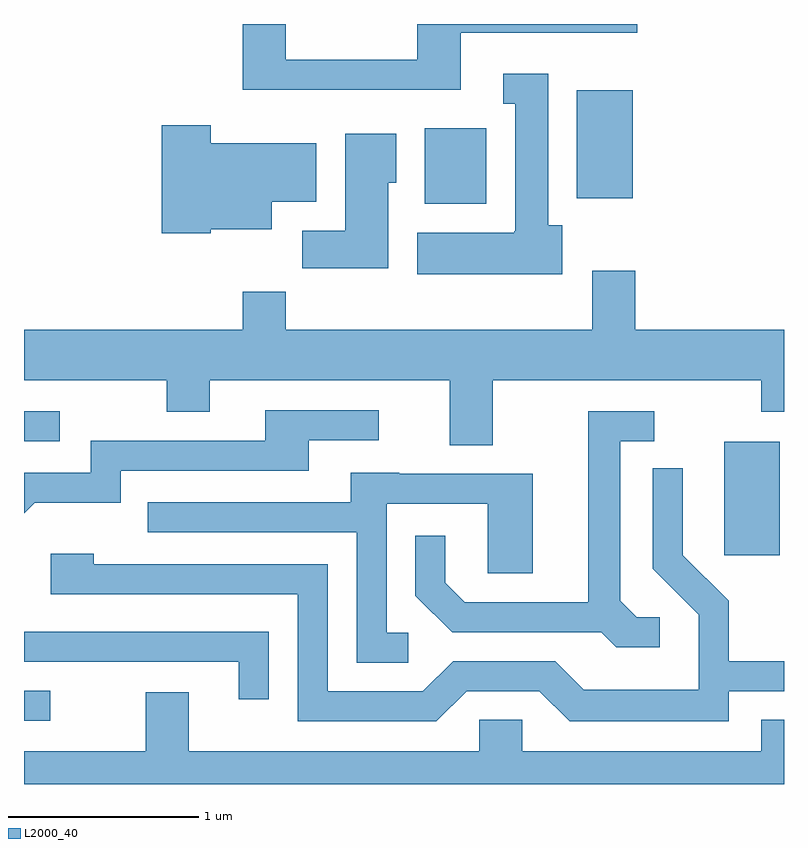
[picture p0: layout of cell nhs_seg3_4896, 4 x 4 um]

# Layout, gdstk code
import gdstk
lib = gdstk.Library(unit=1e-6, precision=1e-09)
def R(c, l, rs):  # rectangles x0, y0, x1, y1
    for r in rs: c.add(gdstk.rectangle(r[:2], r[2:], *l))
def P(c, l, *ps):  # polygons
    for p in ps: c.add(gdstk.Polygon(p, *l))
L2000_40 = (2000, 40)

nhs_seg3_4896 = lib.new_cell('nhs_seg3_4896')
R(nhs_seg3_4896, L2000_40, [(329.611,1124.226,329.748,1124.384), (333.296,1125.096,333.589,1125.694), (329.611,1125.696,329.798,1125.854), (331.721,1126.946,332.044,1127.344), (332.521,1126.976,332.814,1127.544)])
P(nhs_seg3_4896, L2000_40, [(331.909,1127.846),(332.838,1127.846),(332.838,1127.892),(331.681,1127.892),(331.681,1127.704),(330.989,1127.704),(330.989,1127.892),(330.761,1127.892),(330.761,1127.546),(331.909,1127.546)],
  [(332.444,1126.834),(332.369,1126.834),(332.369,1127.629),(332.133,1127.629),(332.133,1127.471),(332.196,1127.471),(332.196,1126.8),(332.19,1126.8),(332.19,1126.794),(331.681,1126.794),(331.681,1126.576),(332.444,1126.576)],
  [(330.594,1126.811),(330.914,1126.811),(330.914,1126.956),(331.149,1126.956),(331.149,1127.264),(330.594,1127.264),(330.594,1127.359),(330.336,1127.359),(330.336,1126.791),(330.594,1126.791)],
  [(331.529,1127.056),(331.569,1127.056),(331.569,1127.314),(331.301,1127.314),(331.301,1126.804),(331.076,1126.804),(331.076,1126.606),(331.529,1126.606)],
  [(332.079,1126.016),(333.491,1126.016),(333.491,1125.851),(333.611,1125.851),(333.611,1126.284),(332.829,1126.284),(332.829,1126.594),(332.601,1126.594),(332.601,1126.284),(330.989,1126.284),(330.989,1126.484),(330.761,1126.484),(330.761,1126.284),(329.611,1126.284),(329.611,1126.016),(330.361,1126.016),(330.361,1125.851),(330.589,1125.851),(330.589,1126.016),(331.851,1126.016),(331.851,1125.676),(332.079,1125.676)],
  [(329.667,1125.371),(330.119,1125.371),(330.119,1125.541),(331.109,1125.541),(331.109,1125.701),(331.478,1125.701),(331.478,1125.859),(330.881,1125.859),(330.881,1125.699),(329.961,1125.699),(329.961,1125.529),(329.611,1125.529),(329.611,1125.316)],
  [(332.958,1124.769),(332.837,1124.769),(332.749,1124.857),(332.749,1125.696),(332.928,1125.696),(332.928,1125.854),(332.581,1125.854),(332.581,1124.849),(331.932,1124.849),(331.829,1124.952),(331.829,1125.198),(331.671,1125.198),(331.671,1124.884),(331.864,1124.691),(332.649,1124.691),(332.729,1124.611),(332.958,1124.611)],
  [(331.942,1124.381),(332.324,1124.381),(332.484,1124.221),(333.319,1124.221),(333.319,1124.381),(333.611,1124.381),(333.611,1124.539),(333.319,1124.539),(333.319,1124.857),(333.079,1125.097),(333.079,1125.553),(332.921,1125.553),(332.921,1125.024),(333.161,1124.784),(333.161,1124.389),(332.557,1124.389),(332.407,1124.539),(331.869,1124.539),(331.709,1124.379),(331.209,1124.379),(331.209,1125.049),(329.979,1125.049),(329.979,1125.104),(329.751,1125.104),(329.751,1124.891),(331.051,1124.891),(331.051,1124.221),(331.782,1124.221)],
  [(331.633,1124.689),(331.519,1124.689),(331.519,1125.366),(332.051,1125.366),(332.051,1125.001),(332.289,1125.001),(332.289,1125.524),(331.585,1125.524),(331.585,1125.529),(331.331,1125.529),(331.331,1125.374),(330.263,1125.374),(330.263,1125.216),(331.361,1125.216),(331.361,1124.531),(331.633,1124.531)],
  [(330.899,1124.694),(329.611,1124.694),(329.611,1124.536),(330.741,1124.536),(330.741,1124.338),(330.899,1124.338)],
  [(333.611,1124.229),(333.491,1124.229),(333.491,1124.064),(332.234,1124.064),(332.234,1124.229),(332.006,1124.229),(332.006,1124.064),(330.479,1124.064),(330.479,1124.374),(330.251,1124.374),(330.251,1124.064),(329.611,1124.064),(329.611,1123.892),(333.611,1123.892)])

lib.write_gds('nhs_seg3_4896.gds')
